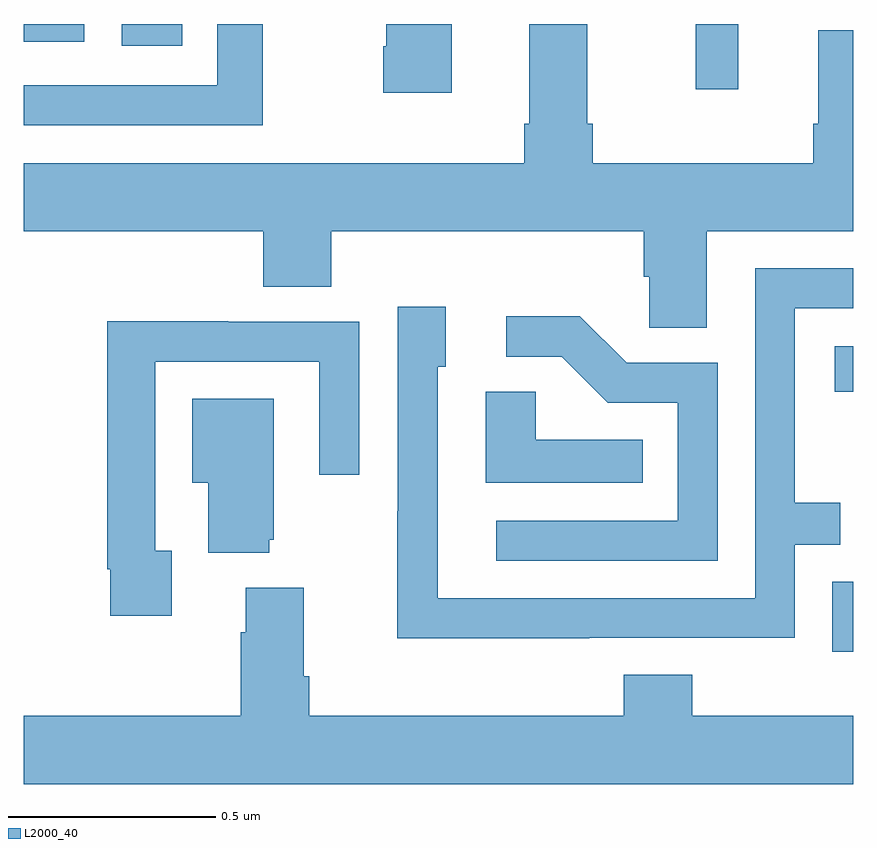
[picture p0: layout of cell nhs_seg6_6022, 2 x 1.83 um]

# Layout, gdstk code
import gdstk
lib = gdstk.Library(unit=1e-6, precision=1e-09)
def R(c, l, rs):  # rectangles x0, y0, x1, y1
    for r in rs: c.add(gdstk.rectangle(r[:2], r[2:], *l))
def P(c, l, *ps):  # polygons
    for p in ps: c.add(gdstk.Polygon(p, *l))
L2000_40 = (2000, 40)

nhs_seg6_6022 = lib.new_cell('nhs_seg6_6022')
R(nhs_seg6_6022, L2000_40, [(191.949,948.987,192,949.155), (191.955,949.613,192,949.723), (191.62,950.343,191.723,950.5), (190.236,950.448,190.382,950.5), (190,950.457,190.146,950.5)])
P(nhs_seg6_6022, L2000_40, [(190.576,950.5),(190.467,950.5),(190.467,950.352),(190,950.352),(190,950.256),(190.576,950.256)],
  [(191.032,950.5),(190.874,950.5),(190.874,950.446),(190.867,950.446),(190.867,950.334),(191.032,950.334)],
  [(191.647,950),(192,950),(192,950.485),(191.915,950.485),(191.915,950.26),(191.903,950.26),(191.903,950.164),(191.372,950.164),(191.372,950.26),(191.359,950.26),(191.359,950.5),(191.219,950.5),(191.219,950.26),(191.207,950.26),(191.207,950.164),(190,950.164),(190,950),(190.577,950),(190.577,949.867),(190.742,949.867),(190.742,950),(191.495,950),(191.495,949.891),(191.508,949.891),(191.508,949.768),(191.647,949.768)],
  [(191.363,949.02),(191.859,949.02),(191.859,949.245),(191.969,949.245),(191.969,949.346),(191.859,949.346),(191.859,949.815),(192,949.815),(192,949.911),(191.763,949.911),(191.763,949.116),(190.998,949.116),(190.998,949.674),(191.017,949.674),(191.017,949.819),(190.902,949.819),(190.902,949.325),(190.9,949.325),(190.9,949.019),(191.363,949.019)],
  [(191.673,949.683),(191.454,949.683),(191.341,949.796),(191.163,949.796),(191.163,949.698),(191.297,949.698),(191.408,949.587),(191.577,949.587),(191.577,949.302),(191.139,949.302),(191.139,949.206),(191.673,949.206)],
  [(190.357,949.23),(190.317,949.23),(190.317,949.686),(190.713,949.686),(190.713,949.413),(190.809,949.413),(190.809,949.782),(190.493,949.782),(190.493,949.784),(190.201,949.784),(190.201,949.186),(190.209,949.186),(190.209,949.074),(190.357,949.074)],
  [(191.492,949.498),(191.235,949.498),(191.235,949.613),(191.114,949.613),(191.114,949.394),(191.492,949.394)],
  [(190.592,949.257),(190.603,949.257),(190.603,949.597),(190.406,949.597),(190.406,949.394),(190.445,949.394),(190.445,949.226),(190.592,949.226)],
  [(192,948.832),(191.612,948.832),(191.612,948.931),(191.447,948.931),(191.447,948.832),(190.688,948.832),(190.688,948.928),(190.675,948.928),(190.675,949.141),(190.535,949.141),(190.535,949.034),(190.523,949.034),(190.523,948.832),(190,948.832),(190,948.668),(192,948.668)])

lib.write_gds('nhs_seg6_6022.gds')
